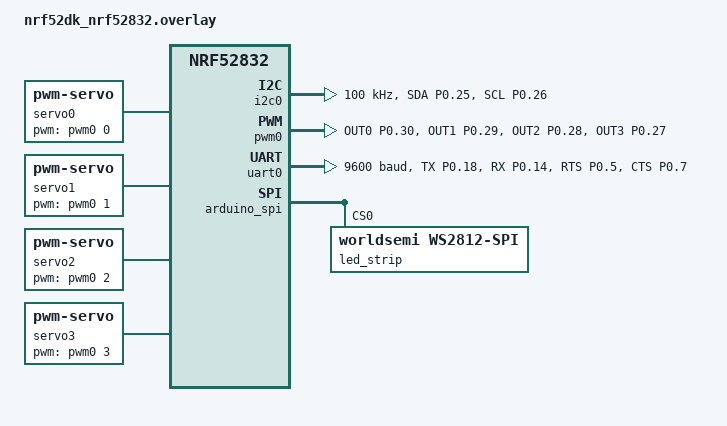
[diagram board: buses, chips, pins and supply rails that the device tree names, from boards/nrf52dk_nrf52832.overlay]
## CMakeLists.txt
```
# SPDX-License-Identifier: Apache-2.0

cmake_minimum_required(VERSION 3.20.0)
find_package(Zephyr REQUIRED HINTS $ENV{ZEPHYR_BASE})
project(servo_motor)

target_sources(app PRIVATE
    src/main.c
    src/command.c
    src/led.c
    src/servo.c
    src/person_sensor.c
    src/chat_cli.c
    src/model_handler.c
)
```

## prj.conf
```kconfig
#
# Copyright (c) 2020 Nordic Semiconductor ASA
#
# SPDX-License-Identifier: LicenseRef-Nordic-5-Clause
#
CONFIG_STDOUT_CONSOLE=y
CONFIG_PRINTK=y
CONFIG_PWM=y
CONFIG_NCS_SAMPLES_DEFAULTS=y

CONFIG_LOG=y
CONFIG_LED_STRIP=y
CONFIG_LED_STRIP_LOG_LEVEL_DBG=y
CONFIG_WS2812_STRIP=y
CONFIG_SPI=y
CONFIG_NEWLIB_LIBC=y

#I2C
CONFIG_I2C=y

# This driver only uses spi_write() with the SPIM instance it allocates,
# so PAN 58 doesn't matter, because the RX length is always 0.
CONFIG_SOC_NRF52832_ALLOW_SPIM_DESPITE_PAN_58=y

# Deffered logging helps improve LPN power consumption
# when friendship is established.
CONFIG_LOG_MODE_DEFERRED=y

# General configuration
CONFIG_SYSTEM_WORKQUEUE_STACK_SIZE=2048
CONFIG_FLASH=y
CONFIG_FLASH_MAP=y
CONFIG_NVS=y
CONFIG_SETTINGS=y
CONFIG_HWINFO=y
CONFIG_DK_LIBRARY=y
								  
CONFIG_PM_SINGLE_IMAGE=y
CONFIG_PM_PARTITION_SIZE_SETTINGS_STORAGE=0x8000

# Bluetooth configuration
CONFIG_BT=y
CONFIG_BT_COMPANY_ID=0x0059
CONFIG_BT_DEVICE_NAME="Mesh Chat"
CONFIG_BT_L2CAP_TX_MTU=69
CONFIG_BT_L2CAP_TX_BUF_COUNT=8
CONFIG_BT_CTLR_DATA_LENGTH_MAX=37
CONFIG_BT_BUF_ACL_TX_SIZE=37
CONFIG_BT_OBSERVER=y
CONFIG_BT_PERIPHERAL=y
CONFIG_BT_SETTINGS=y

# Disable unused Bluetooth features
CONFIG_BT_CTLR_DUP_FILTER_LEN=0
CONFIG_BT_CTLR_LE_ENC=n
						   
CONFIG_BT_PHY_UPDATE=n
CONFIG_BT_CTLR_CHAN_SEL_2=n
CONFIG_BT_CTLR_MIN_USED_CHAN=n
CONFIG_BT_CTLR_PRIVACY=n

# Bluetooth Mesh configuration
CONFIG_BT_MESH=y
CONFIG_BT_MESH_RELAY=y
CONFIG_BT_MESH_FRIEND=y
CONFIG_BT_MESH_ADV_BUF_COUNT=13
CONFIG_BT_MESH_RX_SEG_MAX=10
CONFIG_BT_MESH_TX_SEG_MAX=10
CONFIG_BT_MESH_PB_GATT=y
CONFIG_BT_MESH_GATT_PROXY=y
CONFIG_BT_MESH_DK_PROV=y

# Enable Bluetooth mesh models debug logs
CONFIG_BT_DEBUG_LOG=y
#z CONFIG_BT_MESH_LOG_LEVEL_DBG=y

# Enable Shell module and use UART as a backend
CONFIG_SHELL=y
CONFIG_SHELL_BACKEND_SERIAL=y

# 32kHz clock source
CONFIG_CLOCK_CONTROL_NRF_K32SRC_RC=y
CONFIG_CLOCK_CONTROL_NRF_K32SRC_500PPM=y
```

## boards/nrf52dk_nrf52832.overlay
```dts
/* SPDX-License-Identifier: Apache-2.0 */
#include <zephyr/dt-bindings/led/led.h>
#include "../nrf52-bindings.h"



&i2c0 {
	status = "okay";
	compatible = "nordic,nrf-twi";
	clock-frequency = <100000>;
	pinctrl-0 = <&i2c0_default>;
	pinctrl-1 = <&i2c0_sleep>;
	pinctrl-names = "default", "sleep";
};

&spi1 {
	status = "disabled";
};

&led0 {
	status = "disabled";
};
&led1 {
	status = "disabled";
};
&led2 {
	status = "disabled";
};
&led3 {
	status = "disabled";
};

&button0 {
	status = "disabled";
};
&button1 {
	status = "disabled";
};
&button2 {
	status = "disabled";
};
&button3 {
	status = "disabled";
};

&pwm0 {
	status = "okay";
	pinctrl-0 = <&pwm0_default>;
	pinctrl-1 = <&pwm0_sleep>;
	pinctrl-names = "default", "sleep";


};

arduino_serial: &uart0 {
	status = "okay";
	compatible = "nordic,nrf-uarte";
	current-speed = <9600>;
	pinctrl-0 = <&uart0_default>;
	pinctrl-1 = <&uart0_sleep>;
	pinctrl-names = "default", "sleep";
};

&arduino_spi {/* MOSI on D11 / P0.23 */
	compatible = "nordic,nrf-spim";
	led_strip: ws2812@0 {
		compatible = "worldsemi,ws2812-spi";

		/* SPI */
		reg = <0>; /* ignored, but necessary for SPI bindings */
		spi-max-frequency = <SPI_FREQ>;

		/* WS2812 */
		chain-length = <16>; /* arbitrary; change at will */
		color-mapping = <LED_COLOR_ID_GREEN
		LED_COLOR_ID_RED
		LED_COLOR_ID_BLUE>;
		spi-one-frame = <ONE_FRAME>;
		spi-zero-frame = <ZERO_FRAME>;
	};
};

/ {
	servo0: servo0 {
		compatible = "pwm-servo";
		pwms = <&pwm0 0 PWM_MSEC(20) PWM_POLARITY_NORMAL>;
		min-pulse = <PWM_USEC(1300)>;
		max-pulse = <PWM_USEC(1900)>;
	};
	servo1: servo1 {
		compatible = "pwm-servo";
		pwms = <&pwm0 1 PWM_MSEC(20) PWM_POLARITY_NORMAL>;
		min-pulse = <PWM_USEC(1000)>;
		max-pulse = <PWM_USEC(2000)>;
	};
	servo2: servo2 {
		compatible = "pwm-servo";
		pwms = <&pwm0 2 PWM_MSEC(20) PWM_POLARITY_NORMAL>;
		min-pulse = <PWM_USEC(1000)>;
		max-pulse = <PWM_USEC(2000)>;
	};
	servo3: servo3 {
		compatible = "pwm-servo";
		pwms = <&pwm0 3 PWM_MSEC(20) PWM_POLARITY_NORMAL>;
		min-pulse = <PWM_USEC(1000)>;
		max-pulse = <PWM_USEC(2000)>;
	};
	aliases {
		led-strip = &led_strip;
		person-sensor = &i2c0;
	};
};

&pinctrl {
	i2c0_default: i2c0_default {
		group1 {
			psels = <NRF_PSEL(TWIM_SDA, 0, 25)>,
					<NRF_PSEL(TWIM_SCL, 0, 26)>;
		};
	};

	i2c0_sleep: i2c0_sleep {
		group1 {
			psels = <NRF_PSEL(TWIM_SDA, 0, 25)>,
					<NRF_PSEL(TWIM_SCL, 0, 26)>;
			low-power-enable;
		};
	};


	uart0_default: uart0_default {
		group1 {
			psels = <NRF_PSEL(UART_TX, 0, 18)>,
			        <NRF_PSEL(UART_RX, 0, 14)>,
			        <NRF_PSEL(UART_RTS, 0, 5)>,
			        <NRF_PSEL(UART_CTS, 0, 7)>;
		};
	};

	spi2_default: spi2_default {
		group1 {
			psels = <NRF_PSEL(SPIM_SCK, 0, 22)>,
			        <NRF_PSEL(SPIM_MOSI, 0, 31)>,
			        <NRF_PSEL(SPIM_MISO, 0, 24)>;
		};
	};
	spi2_sleep: spi2_sleep {
		group1 {
			psels = <NRF_PSEL(SPIM_SCK, 0, 22)>,
			        <NRF_PSEL(SPIM_MOSI, 0, 31)>,
			        <NRF_PSEL(SPIM_MISO, 0, 24)>;
			low-power-enable;
		};
	};
	pwm0_default: pwm0_default {
		group1 {
			psels = <NRF_PSEL(PWM_OUT0, 0, 30)>;
		};
		group2 {
			psels = <NRF_PSEL(PWM_OUT1, 0, 29)>;
		};
		group3 {
			psels = <NRF_PSEL(PWM_OUT2, 0, 28)>;
		};
		group4 {
			psels = <NRF_PSEL(PWM_OUT3, 0, 27)>;
		};
	};
	pwm0_sleep: pwm0_sleep {
		group1 {
			psels = <NRF_PSEL(PWM_OUT0, 0, 30)>;
			low-power-enable;
		};
		group2 {
			psels = <NRF_PSEL(PWM_OUT1, 0, 29)>;
			low-power-enable;
		};
		group3 {
			psels = <NRF_PSEL(PWM_OUT2, 0, 28)>;
			low-power-enable;
		};
		group4 {
			psels = <NRF_PSEL(PWM_OUT3, 0, 27)>;
			low-power-enable;
		};
	};


};
```

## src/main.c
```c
/*
 * Copyright (c) 2016 Intel Corporation
 *
 * SPDX-License-Identifier: Apache-2.0
 */

/**
 * @file Sample app to demonstrate PWM-based servomotor control
 */
#include <stdio.h>
#include <errno.h>
#include <string.h>

#include <zephyr/kernel.h>
#include <zephyr/drivers/led_strip.h>
#include <zephyr/sys/printk.h>
#include <zephyr/device.h>
#include <zephyr/drivers/spi.h>
#include <zephyr/drivers/pwm.h>
#include <zephyr/sys/util.h>

#include "command.h"
#include "led.h"
#include "servo.h"

#include <zephyr/bluetooth/bluetooth.h>
#include <bluetooth/mesh/models.h>
#include <bluetooth/mesh/dk_prov.h>
#include <dk_buttons_and_leds.h>
#include "model_handler.h"
#include "person_sensor.h"

#include <zephyr/logging/log.h>
LOG_MODULE_REGISTER(chat, CONFIG_LOG_DEFAULT_LEVEL);

static void bt_ready(int err)
{
	if (err)
	{
		printk("Bluetooth init failed (err %d)\n", err);
		return;
	}

	printk("Bluetooth initialized\n");

	dk_leds_init();
	dk_buttons_init(NULL);

	err = bt_mesh_init(bt_mesh_dk_prov_init(), model_handler_init());
	if (err)
	{
		printk("Initializing mesh failed (err %d)\n", err);
		return;
	}

	if (IS_ENABLED(CONFIG_SETTINGS))
	{
		settings_load();
	}

	/* This will be a no-op if settings_load() loaded provisioning info */
	bt_mesh_prov_enable(BT_MESH_PROV_ADV | BT_MESH_PROV_GATT);

	printk("Mesh initialized\n");
}

extern int32_t servo_timeout;

int main(void)
{
	int err;

	person_sensor_init();

	command_init();
	led_init();
	servo_init();
	eye_position(Eye_both, 5);
	//	cmd_print(">>> Shell Initialized <<<");

	err = bt_enable(bt_ready);
	if (err)
	{
		printk("Bluetooth init failed (err %d)\n", err);
	}

	while (1)
	{
		led_update();
		servo_update();
		check_person_sensor();
		k_sleep(K_MSEC(servo_timeout));
	}
	return 0;
}
```

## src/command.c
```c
#include <zephyr/kernel.h>
#include "servo.h"
#include "led.h"
#include "command.h"
#include <stdio.h>
#include <stdlib.h>
#include <string.h>

const struct shell *eyez_shell;
static enum WhichEye current_eye = Eye_both;

// static int cmd_lighta(const struct shell *shell, size_t argc, char *argv[])
// {
//     cmd_print(">>> x light <<<");

//     return 0;
// }

// static int cmd_lightb(const struct shell *shell, size_t argc, char *argv[])
// {
//     cmd_print(">>> y light <<<");

//     return 0;
// }

// SHELL_STATIC_SUBCMD_SET_CREATE(light_cmds,
//                                SHELL_CMD_ARG(x, NULL, "Print client status", cmd_lighta, 1, 0),
//                                SHELL_CMD_ARG(y, NULL, "Send a text message to the chat <message>", cmd_lightb, 1, 0),
//                                SHELL_SUBCMD_SET_END);

static int cmd_eye_select(const struct shell *shell, size_t argc, char **argv)
{
    if (argc == 1)
    {
        shell_help(shell);
        // shell returns 1 when help is printed
        return 1;
    }
//    cmd_print("eye select %s", argv[1]);
    return 0;
}

static int cmd_eye_position(const struct shell *shell, size_t argc, char **argv)
{
    uint8_t position;
    if (argc == 1)
    {
        shell_help(shell);
        // shell returns 1 when help is printed
        return 1;
    }
    position = atoi(argv[1]);

    eye_position(current_eye, position);

//    cmd_print("eye postion %s", argv[1]);
    return 0;
}

static int cmd_eye_sequence(const struct shell *shell, size_t argc, char **argv)
{
    if (argc == 1)
    {
        shell_help(shell);
        // shell returns 1 when help is printed
        return 1;
    }
    int n = atoi(argv[1]);
    start_sequence(n);
//    cmd_print("eye sequence %s", argv[1]);
    return 0;
}

static int cmd_led_colors(const struct shell *shell, size_t argc, char **argv)
{
    if (argc == 1)
    {
        shell_help(shell);
        // shell returns 1 when help is printed
        return 1;
    }

//    cmd_print("LED sequence %s", argv[1]);
    return 0;
}

SHELL_CMD_ARG_REGISTER(e, NULL, "eye to move", cmd_eye_select, 1, 1);
SHELL_CMD_ARG_REGISTER(p, NULL, "pos to move to", cmd_eye_position, 1, 1);
SHELL_CMD_ARG_REGISTER(s, NULL, "sequence move", cmd_eye_sequence, 1, 1);
SHELL_CMD_ARG_REGISTER(l, NULL, "led", cmd_led_colors, 1, 1);

void command_init()
{
    eyez_shell = shell_backend_uart_get_ptr();
    shell_use_colors_set(eyez_shell, 0);
}

void mesh_command(const uint8_t *msg)
{
    switch (msg[0])
    {
    case 'c':
        set_color_string(&msg[1]);
        break;

    case 'e':
    {
        int n = atoi(&msg[1]);
        start_sequence(n);
    }
    break;

    case 'm':
    {
        int x,y,steps;
        const char * p;

        p = &msg[1];
        x=atoi(p);
        p=strchr(p,',');
        if (p==NULL) return;
        y=atoi(++p);
        p=strchr(p,',');
        steps = (p==NULL) ? 0 : atoi(++p);

        move_linear(x,y,x,y,steps);
    }
    break;

    case 'n':
    {
        int x,y,steps;
        const char * p;

        p = &msg[1];
        x=atoi(p);
        p=strchr(p,',');
        if (p==NULL) return;
        y=atoi(++p);
        p=strchr(p,',');
        steps = (p==NULL) ? 0 : atoi(++p);

        move_linear(x,y,90-x,90-y,steps);
    }
    break;

    case 'a':
    {
        int x,y,steps;
        const char * p;

        p = &msg[1];
        x=atoi(p);
        p=strchr(p,',');
        if (p==NULL) return;
        y=atoi(++p);
        p=strchr(p,',');
        steps = (p==NULL) ? 0 : atoi(++p);

        move_arc(x,y,x,y,steps);
    }
    break;   

    case 'b':
    {
        int x,y,steps;
        const char * p;

        p = &msg[1];
        x=atoi(p);
        p=strchr(p,',');
        if (p==NULL) return;
        y=atoi(++p);
        p=strchr(p,',');
        steps = (p==NULL) ? 0 : atoi(++p);

        move_arc(x,y,90-x,90-y,steps);
    }
    break;        
    }
}
```

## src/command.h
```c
#ifndef COMMAND_H__
#define COMMAND_H__

#include <zephyr/shell/shell.h>
#include <zephyr/shell/shell_uart.h>

void command_init();
void mesh_command(const uint8_t * msg);

extern const struct shell *eyez_shell;

//#define cmd_print(_ft,__VA_ARGS__...) shell_fprintf(eyez_shell, SHELL_NORMAL, _ft "\n", ## __VA_ARGS__)

#endif // COMMAND_H__
```

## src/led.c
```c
#include <string.h>
#include <zephyr/kernel.h>
#include <zephyr/drivers/led_strip.h>
#include <zephyr/sys/printk.h>
#include <zephyr/device.h>
#include <zephyr/drivers/spi.h>
#include <zephyr/drivers/pwm.h>
#include <zephyr/sys/util.h>

#include "led.h"

#define STRIP_NODE DT_ALIAS(led_strip)
#define STRIP_NUM_PIXELS DT_PROP(DT_ALIAS(led_strip), chain_length)

#define RGB(_r, _g, _b)                 \
    {                                   \
        .r = (_r), .g = (_g), .b = (_b) \
    }

struct led_rgb pixels[STRIP_NUM_PIXELS];

static const struct device *strip = DEVICE_DT_GET(STRIP_NODE);
//z static long count = 0;
static int current_pattern = 0;

void led_init()
{
    if (device_is_ready(strip))
    {
        printk("Found LED strip device %s", strip->name);
    }
    else
    {
        printk("LED strip device %s is not ready", strip->name);
        return;
    }
            set_color_pattern(8);

    printk("Displaying pattern on strip");
    current_pattern = 0;
}

const struct led_rgb color_table[] = {
    RGB(0x08, 0x0f, 0x0d), // a quamarine
    RGB(0x00, 0x00, 0x0f), // b
    RGB(0x00, 0x0f, 0x0f), // c
    RGB(0x0c, 0x0a, 0x07), // d esert
    RGB(0x0c, 0x00, 0x0f), // e lectric purple
    RGB(0x05, 0x08, 0x04), // f ern
    RGB(0x00, 0x0f, 0x00), // g
    RGB(0x0f, 0x07, 0x0b), // h ot pink
    RGB(0x05, 0x00, 0x08), // i ndego
    RGB(0x00, 0x0b, 0x07), // j ade
    RGB(0x0c, 0x0b, 0x09), // k haki
    RGB(0x0c, 0x0f, 0x00), // l ime
    RGB(0x0f, 0x00, 0x0f), // m
    RGB(0x04, 0x0f, 0x01), // n eon green
    RGB(0x0f, 0x0a, 0x00), // o range
    RGB(0x02, 0x0b, 0x0d), // p acific blue
    RGB(0x0b, 0x0b, 0x0b), // q uick silver
    RGB(0x0f, 0x00, 0x00), // r
    RGB(0x0f, 0x03, 0x00), // s carlet
    RGB(0x0d, 0x0b, 0x09), // t an
    RGB(0x04, 0x00, 0x0f), // u ltramarine
    RGB(0x0e, 0x04, 0x03), // v ermillion
    RGB(0x0f, 0x0f, 0x0f), // w
    RGB(0x00, 0x00, 0x00), // x
    RGB(0x0f, 0x0f, 0x00), // y
    RGB(0x0, 0x02, 0x0b),  // z affre
};

#if WHICH_HEAD == BIG_EYE

const char *color_patterns[] = {
    "ygcbmrmbcgy",
    "gcbmryrmbcg",
    "cbmrygyrmbc",
    "bmrygcgyrmb",
    "mrygcbcgyrm",
    "rygcbmbcgyr",
    "ooooooooooo",
    "mmmmmmmmmmm",
    "ccggbbccggb",
    "yyrrooorryy",
    "ppppppppppp",
    "aaaaaaaaaaa",
    "rrabcdefghi",
};
#else
char *color_patterns[] = {
    "ggyyyyyyyyg",
    "ccrroooooog",
    "oobbggggggb",
    "bbggggggggg",
    "lluuppppppb",
    "hhjjjjjjjjg",
    "vvyyoooooob",
    "rrmmmmmmmmg",
    "bbccccccccb",
    "yyrroooooog",
    "ppppppppppb",
    "aappppppppg",
    "rrabcdefghi",
};
#endif

uint8_t color_index(char color)
{
    if (color < 'a' || color > 'z')
    {
        return 0;
    }
    return color - 'a';
}

void set_color_string(const uint8_t *str)
{
    int rc;
    int length = MIN(sizeof(pixels), strlen(str));

    memset(&pixels, 0x00, sizeof(pixels));

    for (int i = 0; i < length; ++i)
    {
        uint8_t index = color_index(str[i]);
        memcpy(&pixels[i], &color_table[index], sizeof(struct led_rgb));
    }
    rc = led_strip_update_rgb(strip, pixels, STRIP_NUM_PIXELS);

    if (rc)
    {
        printk("couldn't update strip: %d", rc);
    }
}

void led_update()
{
    // memset(&pixels, 0x00, sizeof(pixels));

    // ++count;
    // if (count % 100 == 1)
    //     set_color_string("rrggbbccmm");
    // else if (count % 100 == 50)
    //     set_color_string("ccmmyyrrggbb");
}

void set_color_pattern(int index)
{
    current_pattern = (index % ARRAY_SIZE(color_patterns));
    set_color_string(color_patterns[current_pattern]);
}

void next_color_pattern()
{
    set_color_pattern(current_pattern + 1);
}
```

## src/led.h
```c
#ifndef LED_H__
#define LED_H__

void led_init();
void led_update();
void set_color_string(const uint8_t *str);
void set_color_pattern(int index);
void next_color_pattern();

#endif // LED_H__
```

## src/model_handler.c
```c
/*
 * Copyright (c) 2019 Nordic Semiconductor ASA
 *
 * SPDX-License-Identifier: LicenseRef-Nordic-5-Clause
 */

#include <stdio.h>

#include <zephyr/bluetooth/bluetooth.h>
#include <bluetooth/mesh/models.h>
#include <dk_buttons_and_leds.h>

#include <zephyr/shell/shell.h>
#include <zephyr/shell/shell_uart.h>

#include "chat_cli.h"
#include "model_handler.h"

#include <zephyr/logging/log.h>
#include "command.h"

LOG_MODULE_DECLARE(chat);

static const struct shell *chat_shell;

/******************************************************************************/
/*************************** Health server setup ******************************/
/******************************************************************************/
/* Set up a repeating delayed work to blink the DK's LEDs when attention is
 * requested.
 */
static struct k_work_delayable attention_blink_work;
static bool attention;

static void attention_blink(struct k_work *work)
{
	static int idx;
	const uint8_t pattern[] = {
		BIT(0) | BIT(1),
		BIT(1) | BIT(2),
		BIT(2) | BIT(3),
		BIT(3) | BIT(0),
	};

	if (attention)
	{
		dk_set_leds(pattern[idx++ % ARRAY_SIZE(pattern)]);
		k_work_reschedule(&attention_blink_work, K_MSEC(30));
	}
	else
	{
		dk_set_leds(DK_NO_LEDS_MSK);
	}
}

static void attention_on(struct bt_mesh_model *mod)
{
	attention = true;
	k_work_reschedule(&attention_blink_work, K_NO_WAIT);
}

static void attention_off(struct bt_mesh_model *mod)
{
	/* Will stop rescheduling blink timer */
	attention = false;
}

static const struct bt_mesh_health_srv_cb health_srv_cb = {
	.attn_on = attention_on,
	.attn_off = attention_off,
};

static struct bt_mesh_health_srv health_srv = {
	.cb = &health_srv_cb,
};

BT_MESH_HEALTH_PUB_DEFINE(health_pub, 0);

/******************************************************************************/
/***************************** Chat model setup *******************************/
/******************************************************************************/
struct presence_cache
{
	uint16_t addr;
	enum bt_mesh_chat_cli_presence presence;
};

/* Cache of Presence values of other chat clients. */
static struct presence_cache presence_cache[CONFIG_BT_MESH_CHAT_SAMPLE_PRESENCE_CACHE_SIZE];

static const uint8_t *presence_string[] = {
	[BT_MESH_CHAT_CLI_PRESENCE_AVAILABLE] = "available",
	[BT_MESH_CHAT_CLI_PRESENCE_AWAY] = "away",
	[BT_MESH_CHAT_CLI_PRESENCE_DO_NOT_DISTURB] = "dnd",
	[BT_MESH_CHAT_CLI_PRESENCE_INACTIVE] = "inactive",
};

/**
 * Returns true if the specified address is an address of the local element.
 */
static bool address_is_local(struct bt_mesh_model *mod, uint16_t addr)
{
	return bt_mesh_model_elem(mod)->addr == addr;
}

/**
 * Returns true if the provided address is unicast address.
 */
static bool address_is_unicast(uint16_t addr)
{
	return (addr > 0) && (addr <= 0x7FFF);
}

/**
 * Returns true if the node is new or the presence status is different from
 * the one stored in the cache.
 */
static bool presence_cache_entry_check_and_update(uint16_t addr,
												  enum bt_mesh_chat_cli_presence presence)
{
	static size_t presence_cache_head;
	size_t i;

	/* Find address in cache. */
	for (i = 0; i < ARRAY_SIZE(presence_cache); i++)
	{
		if (presence_cache[i].addr == addr)
		{
			if (presence_cache[i].presence == presence)
			{
				return false;
			}

			/* Break since the node in the cache. */
			break;
		}
	}

	/* Not in cache. */
	if (i == ARRAY_SIZE(presence_cache))
	{
		for (i = 0; i < ARRAY_SIZE(presence_cache); i++)
		{
			if (!presence_cache[i].addr)
			{
				break;
			}
		}

		/* Cache is full. */
		if (i == ARRAY_SIZE(presence_cache))
		{
			i = presence_cache_head;
			presence_cache_head = (presence_cache_head + 1) % CONFIG_BT_MESH_CHAT_SAMPLE_PRESENCE_CACHE_SIZE;
		}
	}

	/* Update cache. */
	presence_cache[i].addr = addr;
	presence_cache[i].presence = presence;

	return true;
}

static void print_client_status(void);

static void handle_chat_start(struct bt_mesh_chat_cli *chat)
{
	print_client_status();
}

static void handle_chat_presence(struct bt_mesh_chat_cli *chat,
								 struct bt_mesh_msg_ctx *ctx,
								 enum bt_mesh_chat_cli_presence presence)
{
	if (address_is_local(chat->model, ctx->addr))
	{
		if (address_is_unicast(ctx->recv_dst))
		{
			shell_print(chat_shell, "<you> are %s",
						presence_string[presence]);
		}
	}
	else
	{
		if (address_is_unicast(ctx->recv_dst))
		{
			shell_print(chat_shell, "<0x%04X> is %s", ctx->addr,
						presence_string[presence]);
		}
		else if (presence_cache_entry_check_and_update(ctx->addr,
													   presence))
		{
			shell_print(chat_shell, "<0x%04X> is now %s",
						ctx->addr,
						presence_string[presence]);
		}
	}
}

static void handle_chat_message(struct bt_mesh_chat_cli *chat,
								struct bt_mesh_msg_ctx *ctx,
								const uint8_t *msg)
{
	mesh_command(msg);

	/* Don't print own messages. */
	if (address_is_local(chat->model, ctx->addr))
	{
		return;
	}

	shell_print(chat_shell, "<0x%04X>: %s", ctx->addr, msg);
}

static void handle_chat_private_message(struct bt_mesh_chat_cli *chat,
										struct bt_mesh_msg_ctx *ctx,
										const uint8_t *msg)
{
	/* Don't print own messages. */
	if (address_is_local(chat->model, ctx->addr))
	{
		return;
	}

	shell_print(chat_shell, "<0x%04X>: *you* %s", ctx->addr, msg);
}

static void handle_chat_message_reply(struct bt_mesh_chat_cli *chat,
									  struct bt_mesh_msg_ctx *ctx)
{
	shell_print(chat_shell, "<0x%04X> received the message", ctx->addr);
}

static const struct bt_mesh_chat_cli_handlers chat_handlers = {
	.start = handle_chat_start,
	.presence = handle_chat_presence,
	.message = handle_chat_message,
	.private_message = handle_chat_private_message,
	.message_reply = handle_chat_message_reply,
};

/* .. include_startingpoint_model_handler_rst_1 */
static struct bt_mesh_chat_cli chat = {
	.handlers = &chat_handlers,
};

static struct bt_mesh_elem elements[] = {
	BT_MESH_ELEM(
		1,
		BT_MESH_MODEL_LIST(
			BT_MESH_MODEL_CFG_SRV,
			BT_MESH_MODEL_HEALTH_SRV(&health_srv, &health_pub)),
		BT_MESH_MODEL_LIST(BT_MESH_MODEL_CHAT_CLI(&chat))),
};
/* .. include_endpoint_model_handler_rst_1 */

static void print_client_status(void)
{
	if (!bt_mesh_is_provisioned())
	{
		shell_print(chat_shell,
					"The mesh node is not provisioned. Please provision the mesh node before using the chat.");
	}
	else
	{
		shell_print(chat_shell,
					"The mesh node is provisioned. The client address is 0x%04x.",
					bt_mesh_model_elem(chat.model)->addr);
	}

	shell_print(chat_shell, "Current presence: %s",
				presence_string[chat.presence]);
}

static const struct bt_mesh_comp comp = {
	.cid = CONFIG_BT_COMPANY_ID,
	.elem = elements,
	.elem_count = ARRAY_SIZE(elements),
};

/******************************************************************************/
/******************************** Chat shell **********************************/
/******************************************************************************/
static int cmd_status(const struct shell *shell, size_t argc, char *argv[])
{
	print_client_status();

	return 0;
}

static int cmd_message(const struct shell *shell, size_t argc, char *argv[])
{
	int err;

	if (argc < 2)
	{
		return -EINVAL;
	}

	err = bt_mesh_chat_cli_message_send(&chat, argv[1]);
	if (err)
	{
		LOG_WRN("Failed to send message: %d", err);
	}

	/* Print own messages in the chat. */
	shell_print(shell, "<you>: %s", argv[1]);

	return 0;
}

static int cmd_private_message(const struct shell *shell, size_t argc,
							   char *argv[])
{
	uint16_t addr;
	int err;

	if (argc < 3)
	{
		return -EINVAL;
	}

	addr = strtol(argv[1], NULL, 0);

	/* Print own message to the chat. */
	shell_print(shell, "<you>: *0x%04X* %s", addr, argv[2]);

	err = bt_mesh_chat_cli_private_message_send(&chat, addr, argv[2]);
	if (err)
	{
		LOG_WRN("Failed to publish message: %d", err);
	}

	return 0;
}

static int cmd_presence_set(const struct shell *shell, size_t argc,
							char *argv[])
{
	size_t i;

	if (argc < 2)
	{
		return -EINVAL;
	}

	for (i = 0; i < ARRAY_SIZE(presence_string); i++)
	{
		if (!strcmp(argv[1], presence_string[i]))
		{
			enum bt_mesh_chat_cli_presence presence;
			int err;

			presence = i;

			err = bt_mesh_chat_cli_presence_set(&chat, presence);
			if (err)
			{
				LOG_WRN("Failed to update presence: %d", err);
			}

			/* Print own presence in the chat. */
			shell_print(shell, "You are now %s",
						presence_string[presence]);

			return 0;
		}
	}

	shell_print(shell,
				"Unknown presence status: %s. Possible presence statuses:",
				argv[1]);
	for (i = 0; i < ARRAY_SIZE(presence_string); i++)
	{
		shell_print(shell, "%s", presence_string[i]);
	}

	return 0;
}

static int cmd_presence_get(const struct shell *shell, size_t argc,
							char *argv[])
{
	uint16_t addr;
	int err;

	if (argc < 2)
	{
		return -EINVAL;
	}

	addr = strtol(argv[1], NULL, 0);

	err = bt_mesh_chat_cli_presence_get(&chat, addr);
	if (err)
	{
		LOG_WRN("Failed to publish message: %d", err);
	}

	return 0;
}

SHELL_STATIC_SUBCMD_SET_CREATE(presence_cmds,
							   SHELL_CMD_ARG(set, NULL,
											 "Set presence of the current client <presence: available, away, dnd or inactive>",
											 cmd_presence_set, 2, 0),
							   SHELL_CMD_ARG(get, NULL,
											 "Get presence status of the remote node <node>",
											 cmd_presence_get, 2, 0),
							   SHELL_SUBCMD_SET_END);

static int cmd_presence(const struct shell *shell, size_t argc, char *argv[])
{
	if (argc == 1)
	{
		shell_help(shell);
		/* shell returns 1 when help is printed */
		return 1;
	}

	if (argc != 3)
	{
		return -EINVAL;
	}

	return 0;
}

SHELL_STATIC_SUBCMD_SET_CREATE(chat_cmds,
							   SHELL_CMD_ARG(status, NULL, "Print client status", cmd_status, 1, 0),
							   SHELL_CMD(presence, &presence_cmds, "Presence commands", cmd_presence),
							   SHELL_CMD_ARG(private, NULL,
											 "Send a private text message to a client <node> <message>",
											 cmd_private_message, 3, 0),
							   SHELL_CMD_ARG(msg, NULL, "Send a text message to the chat <message>",
											 cmd_message, 2, 0),
							   SHELL_SUBCMD_SET_END);

static int cmd_chat(const struct shell *shell, size_t argc, char **argv)
{
	if (argc == 1)
	{
		shell_help(shell);
		/* shell returns 1 when help is printed */
		return 1;
	}

	shell_error(shell, "%s unknown parameter: %s", argv[0], argv[1]);

	return -EINVAL;
}

static int cmd_eyes(const struct shell *shell, size_t argc, char **argv)
{
	int err;

	if (argc < 2)
	{
		return -EINVAL;
	}

	err = bt_mesh_chat_cli_message_send(&chat, argv[1]);
	if (err)
	{
		LOG_WRN("Failed to send message: %d", err);
	}

	/* Print own messages in the chat. */
	shell_print(shell, "<you>: %s", argv[1]);

	return 0;
}


SHELL_CMD_ARG_REGISTER(chat, &chat_cmds, "Bluetooth Mesh Chat Client commands",
					   cmd_chat, 1, 1);


SHELL_CMD_ARG_REGISTER(z, NULL, "Eyes",
					   cmd_eyes, 1, 1);

/******************************************************************************/
/******************************** Public API **********************************/
/******************************************************************************/
const struct bt_mesh_comp *model_handler_init(void)
{
	k_work_init_delayable(&attention_blink_work, attention_blink);

	chat_shell = shell_backend_uart_get_ptr();
	shell_print(chat_shell, ">>> Bluetooth Mesh Chat sample <<<");

	return &comp;
}
```

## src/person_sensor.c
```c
#include <zephyr/device.h>
#include <zephyr/devicetree.h>

#include <zephyr/drivers/i2c.h>
#include "person_sensor.h"

const struct device *const sl_i2c1 = DEVICE_DT_GET(DT_ALIAS(person_sensor));

int zero_count = 0;
person_sensor_results_t results = {};

static uint8_t num_faces = 0;

struct
{
    uint8_t left;
    uint8_t top;
    uint8_t width;
} face[PERSON_SENSOR_MAX_FACES_COUNT];

void person_sensor_init()
{
    int err;

    if (!device_is_ready(sl_i2c1))
    {
        printk("i2c devices not ready\n");
        return;
    }
    err = i2c_configure(sl_i2c1, I2C_SPEED_SET(I2C_SPEED_STANDARD));
    // err = i2c_configure(sl_i2c1, I2C_SPEED_SET(I2C_SPEED_FAST));
    if (err)
    {
        printk("i2c init failed (err %d)\n", err);
    }
    printk("i2c read\n");

    err = i2c_reg_write_byte(sl_i2c1, PERSON_ADDR, DEBUG_REG, 0);
    if (err)
    {
        printk("i2c failed (err %d)\n", err);
    }
}

static uint8_t scale100(uint8_t n)
{
    if (n < 78)
        return 0;
    if (n > 156)
        return 100;

    return (n - 78);
}

bool get_person_position(uint8_t *x, uint8_t *y)
{
    if (num_faces == 0)
        return false;

    *x = scale100(255 - face[0].left);
    *y = scale100(face[0].top);
    return true;
}


void check_person_sensor()
{
    int err;
    err = i2c_read(sl_i2c1, (uint8_t *)&results, sizeof(results), PERSON_ADDR);
    if (err)
    {
        printk("i2c failed (err %d)\n", err);
    }

    if (results.num_faces == 0)
    {
        if (++zero_count > 150)
        {
            num_faces = 0;
        }
        return;
    }

    if (num_faces > 3)
        return;

    num_faces = results.num_faces;
    zero_count = 0;

    for (uint8_t i = 0; i < num_faces; ++i)
    {
        face[i].left = results.faces[i].box_left;
        face[i].top = results.faces[i].box_top;
        face[i].width = results.faces[i].box_right - results.faces[i].box_left;
        printk("face %d: %d (%d %d) %d %d\n", i, results.faces[i].box_confidence, face[i].left, face[i].top, face[i].width, results.faces[i].box_bottom - results.faces[i].box_top);
    }
}
```

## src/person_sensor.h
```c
#ifndef PERSON_SENSOR_H__
#define LED_H__


#define PERSON_ADDR 0x62
#define DEBUG_REG 0x07


// The person sensor will never output more than four faces.
#define PERSON_SENSOR_MAX_FACES_COUNT (4)

// How many different faces the sensor can recognize.
#define PERSON_SENSOR_MAX_IDS_COUNT (7)

// The following structures represent the data format returned from the person
// sensor over the I2C communication protocol. The C standard doesn't
// guarantee the byte-wise layout of a regular struct across different
// platforms, so we add the non-standard (but widely supported) __packed__
// attribute to ensure the layouts are the same as the wire representation.

// The results returned from the sensor have a short header providing
// information about the length of the data packet:
//   reserved: Currently unused bytes.
//   data_size: Length of the entire packet, excluding the header and checksum.
//     For version 1.0 of the sensor, this should be 40.
typedef struct __attribute__((__packed__))
{
    uint8_t reserved[2]; // Bytes 0-1.
    uint16_t data_size;  // Bytes 2-3.
} person_sensor_results_header_t;

// Each face found has a set of information associated with it:
//   box_confidence: How certain we are we have found a face, from 0 to 255.
//   box_left: X coordinate of the left side of the box, from 0 to 255.
//   box_top: Y coordinate of the top edge of the box, from 0 to 255.
//   box_width: Width of the box, where 255 is the full view port size.
//   box_height: Height of the box, where 255 is the full view port size.
//   id_confidence: How sure the sensor is about the recognition result.
//   id: Numerical ID assigned to this face.
//   is_looking_at: Whether the person is facing the camera, 0 or 1.
typedef struct __attribute__((__packed__))
{
    uint8_t box_confidence; // Byte 1.
    uint8_t box_left;       // Byte 2.
    uint8_t box_top;        // Byte 3.
    uint8_t box_right;      // Byte 4.
    uint8_t box_bottom;     // Byte 5.
    int8_t id_confidence;   // Byte 6.
    int8_t id;              // Byte 7
    uint8_t is_facing;      // Byte 8.
} person_sensor_face_t;

// This is the full structure of the packet returned over the wire from the
// sensor when we do an I2C read from the peripheral address.
// The checksum should be the CRC16 of bytes 0 to 38. You shouldn't need to
// verify this in practice, but we found it useful during our own debugging.
typedef struct __attribute__((__packed__))
{
    person_sensor_results_header_t header;                     // Bytes 0-4.
    int8_t num_faces;                                          // Byte 5.
    person_sensor_face_t faces[PERSON_SENSOR_MAX_FACES_COUNT]; // Bytes 6-37.
    uint16_t checksum;                                         // Bytes 38-39.
} person_sensor_results_t;

void person_sensor_init();
void check_person_sensor();
bool get_person_position(uint8_t *x, uint8_t *y);

#endif // PERSON_SENSOR_H__
```

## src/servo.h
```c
#ifndef SERVO_H__
#define SERVO_H__

#define BIG_EYE 0
#define HEAD_MOM 1
#define HEAD_BABY 2
#define HEAD_JUNIOR 3
#define HEAD_DAD 4
#define LAST_HEAD 5

#define WHICH_HEAD BIG_EYE
#define REV_WHICH_HEAD (LAST_HEAD - WHICH_HEAD)
enum WhichEye
{
    Eye_left,
    Eye_right,
    Eye_both
};

void servo_init();
void servo_update();
void start_sequence(int sequence);
void eye_position(enum WhichEye eye, uint8_t pos);

void move_linear(int16_t xA, int16_t yA, int16_t xB, int16_t yB, int16_t steps);
void move_arc(int16_t xAi, int16_t yAi, int16_t xBi, int16_t yBi, int16_t steps);

#endif // SERVO_H__
```
